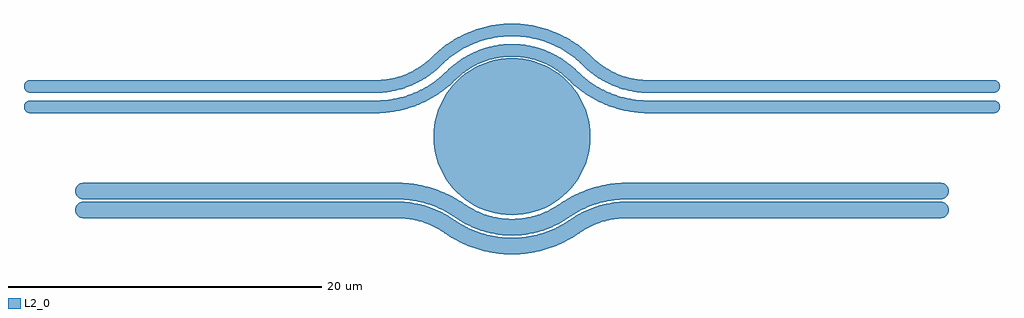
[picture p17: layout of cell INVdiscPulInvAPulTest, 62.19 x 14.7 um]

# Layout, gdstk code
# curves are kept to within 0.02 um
import gdstk
lib = gdstk.Library(unit=1e-6, precision=1e-09)
def P(c, l, *ps):  # polygons
    for p in ps: c.add(gdstk.Polygon(p, *l))
L2_0 = (2, 0)

invdiscpulinvapultest = lib.new_cell('INVdiscPulInvAPulTest')
P(invdiscpulinvapultest, L2_0, [(5,5),(4.288,5.051),(3.937,5.114),(3.253,5.315),(2.923,5.452),(2.297,5.794),(2.004,5.997),(1.464,6.464),(0.997,7.004),(0.794,7.297),(0.452,7.923),(0.315,8.253),(0.114,8.937),(0.051,9.288),(0,10),(0.051,10.712),(0.114,11.063),(0.315,11.747),(0.452,12.077),(0.794,12.703),(0.997,12.996),(1.464,13.536),(2.004,14.003),(2.297,14.206),(2.923,14.548),(3.253,14.685),(3.937,14.886),(4.288,14.949),(5,15),(5.712,14.949),(6.063,14.886),(6.747,14.685),(7.077,14.548),(7.703,14.206),(7.996,14.003),(8.536,13.536),(9.003,12.996),(9.206,12.703),(9.548,12.077),(9.685,11.747),(9.886,11.063),(9.949,10.712),(10,10),(9.949,9.288),(9.886,8.937),(9.685,8.253),(9.548,7.923),(9.206,7.297),(9.003,7.004),(8.536,6.464),(7.996,5.997),(7.703,5.794),(7.077,5.452),(6.747,5.315),(6.063,5.114),(5.712,5.051)],
  [(-25.697,11.497),(-25.697,12.297),(-3.697,12.297),(-2.787,12.363),(-2.226,12.469),(-1.676,12.625),(-1.143,12.829),(-0.53,13.136),(0.229,13.643),(1.136,14.459),(1.549,14.786),(2.08,15.127),(2.549,15.367),(3.037,15.564),(3.643,15.742),(4.265,15.854),(4.895,15.899),(5.526,15.877),(6.151,15.787),(6.763,15.63),(7.355,15.41),(7.92,15.127),(8.451,14.786),(8.864,14.459),(9.771,13.643),(10.237,13.313),(10.63,13.08),(11.143,12.829),(11.676,12.625),(12.226,12.469),(12.9,12.347),(13.697,12.297),(35.697,12.297),(35.697,11.497),(13.697,11.497),(13.056,11.526),(12.419,11.612),(11.669,11.789),(10.942,12.045),(10.36,12.318),(9.805,12.64),(9.28,13.011),(8.34,13.854),(7.983,14.137),(7.524,14.432),(7.035,14.676),(6.524,14.867),(5.995,15.002),(5.455,15.08),(4.909,15.099),(4.364,15.06),(3.827,14.963),(3.389,14.839),(2.881,14.639),(2.476,14.432),(2.017,14.137),(1.66,13.854),(0.72,13.011),(0.195,12.64),(-0.247,12.378),(-0.942,12.045),(-1.546,11.826),(-2.167,11.662),(-2.8,11.554),(-3.697,11.497)],
  [(-25.697,12.797),(-25.697,13.597),(-3.697,13.597),(-2.972,13.649),(-2.525,13.734),(-2.001,13.888),(-1.579,14.058),(-1.095,14.311),(-0.497,14.726),(0.285,15.441),(0.789,15.84),(1.437,16.257),(2.126,16.602),(2.726,16.832),(3.47,17.035),(4.23,17.159),(4.871,17.199),(5.642,17.171),(6.405,17.062),(7.151,16.871),(7.874,16.602),(8.563,16.257),(9.211,15.84),(9.715,15.441),(10.497,14.726),(11.095,14.311),(11.579,14.058),(12.087,13.858),(12.613,13.714),(13.062,13.637),(13.697,13.597),(35.697,13.597),(35.697,12.797),(13.697,12.797),(13.172,12.821),(12.65,12.891),(12.035,13.036),(11.44,13.247),(10.87,13.519),(10.078,14.038),(9.191,14.837),(8.65,15.257),(8.167,15.562),(7.554,15.868),(6.912,16.108),(6.249,16.277),(5.57,16.375),(4.886,16.399),(4.202,16.35),(3.64,16.254),(2.979,16.072),(2.341,15.822),(1.833,15.562),(1.257,15.191),(0.809,14.837),(0.005,14.103),(-0.778,13.57),(-1.246,13.331),(-1.834,13.099),(-2.443,12.932),(-2.962,12.843),(-3.697,12.797)],
  [(35.697,11.497),(35.697,12.297),(35.853,12.266),(35.98,12.18),(36.066,12.053),(36.097,11.897),(36.066,11.742),(35.98,11.615),(35.853,11.529)],
  [(-25.697,11.497),(-25.853,11.529),(-25.98,11.615),(-26.066,11.742),(-26.097,11.897),(-26.066,12.053),(-25.98,12.18),(-25.853,12.266),(-25.697,12.297)],
  [(35.697,12.797),(35.697,13.597),(35.853,13.566),(35.98,13.48),(36.066,13.353),(36.097,13.197),(36.066,13.042),(35.98,12.915),(35.853,12.829)],
  [(-25.697,12.797),(-25.853,12.829),(-25.98,12.915),(-26.066,13.042),(-26.097,13.197),(-26.066,13.353),(-25.98,13.48),(-25.853,13.566),(-25.697,13.597)],
  [(5,2.5),(4.376,2.526),(3.756,2.604),(3.145,2.733),(2.547,2.912),(1.966,3.141),(1.497,3.368),(0.33,4.092),(-0.256,4.386),(-1.015,4.643),(-1.804,4.781),(-2.313,4.806),(-22.313,4.806),(-22.517,4.847),(-22.718,4.997),(-22.814,5.175),(-22.835,5.384),(-22.775,5.581),(-22.647,5.736),(-22.517,5.815),(-22.313,5.856),(-2.313,5.856),(-1.615,5.817),(-0.755,5.66),(0.075,5.386),(0.783,5.043),(2.067,4.255),(2.89,3.905),(3.405,3.75),(3.93,3.639),(4.463,3.572),(5,3.55)],
  [(5,2.5),(5,3.55),(5.537,3.572),(6.07,3.639),(6.595,3.75),(7.11,3.905),(7.933,4.255),(9.217,5.043),(9.925,5.386),(10.755,5.66),(11.615,5.817),(12.313,5.856),(32.313,5.856),(32.517,5.815),(32.647,5.736),(32.775,5.581),(32.835,5.384),(32.814,5.175),(32.718,4.997),(32.517,4.847),(32.313,4.806),(12.313,4.806),(11.804,4.781),(11.015,4.643),(10.256,4.386),(9.67,4.092),(8.503,3.368),(8.034,3.141),(7.453,2.912),(6.855,2.733),(6.244,2.604),(5.624,2.526)],
  [(5,3.7),(4.476,3.722),(3.955,3.787),(3.442,3.896),(2.939,4.046),(2.058,4.429),(0.934,5.129),(0.132,5.525),(-0.631,5.783),(-1.598,5.966),(-2.313,6.006),(-22.313,6.006),(-22.517,6.047),(-22.718,6.197),(-22.814,6.375),(-22.835,6.584),(-22.775,6.781),(-22.647,6.936),(-22.517,7.015),(-22.313,7.056),(-1.793,7.038),(-1.172,6.969),(-0.661,6.872),(-0.058,6.709),(0.433,6.535),(1.372,6.088),(2.613,5.324),(3.352,5.015),(4.201,4.811),(5,4.75),(5.799,4.811),(6.648,5.015),(7.387,5.324),(8.628,6.088),(9.567,6.535),(10.058,6.709),(10.661,6.872),(11.689,7.03),(12.313,7.056),(32.367,7.053),(32.563,6.992),(32.718,6.865),(32.797,6.735),(32.838,6.531),(32.797,6.326),(32.684,6.16),(32.517,6.047),(32.313,6.006),(12.313,6.006),(11.509,5.956),(10.631,5.783),(9.786,5.49),(9.066,5.129),(7.942,4.429),(7.061,4.046),(6.558,3.896),(6.045,3.787),(5.524,3.722)])

lib.write_gds('INVdiscPulInvAPulTest.gds')
